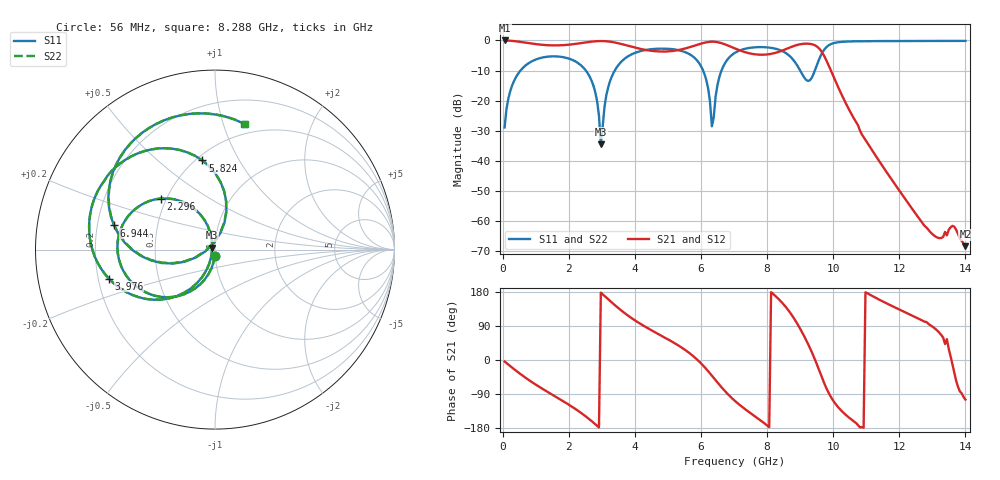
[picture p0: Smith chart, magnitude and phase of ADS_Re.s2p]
! Created Tue Apr 24 14:54:15 2018
# mhz S ri R 50
! 2 Port Network Data from data block
! freq  reS11  imS11  reS21  imS21  reS12  imS12  reS22  imS22
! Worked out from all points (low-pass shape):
!   250 points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, 56 MHz to 14 GHz, reference 50 ohm
!   highest |S21| = -0.02 dB at 56 MHz (marker M1); lowest = -68.2 dB at 14 GHz (marker M2)
!   |S21| within 3 dB of the highest: start of sweep to 4.25 GHz; 5.395 GHz to 7.104 GHz (1.709 GHz wide, 27.3 % of centre)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
!   lowest |S11| = -34.4 dB at 2.968 GHz (marker M3), VSWR 1.04, Z = 48.5 + j1.07 ohm
!   |S11| at or under -10 dB: start of sweep to 537.8 MHz; 2.514 GHz to 3.39 GHz (875.7 MHz wide, 29.7 % of centre); 6.062 GHz to 6.619 GHz (557.1 MHz wide, 8.79 % of centre)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
!   |S22| runs from -34.6 to -0.2 dB; largest |S21 - S12| = 0
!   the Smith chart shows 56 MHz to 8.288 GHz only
!   S11 on the Smith chart (normalised r, x): 56 MHz: 1.00, -0.07; 2.296 GHz: 0.47, +0.32; 3.976 GHz: 0.24, -0.13; 5.824 GHz: 0.54, +0.71; 6.944 GHz: 0.27, +0.11; 8.288 GHz: 0.40, +1.17
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56  -0.000957 -0.036  0.9953 -0.0697  0.9953 -0.0697  -0.000957 -0.036
672  -0.2668 -0.2656  0.6428 -0.6601  0.6428 -0.6601  -0.2668 -0.2656
2296  -0.3008 0.2843  -0.6284 -0.6285  -0.6284 -0.6285  -0.3013 0.2853
2408  -0.2372 0.2816  -0.7162 -0.5593  -0.7162 -0.5593  -0.2366 0.2822
2800  -0.0406 0.1322  -0.9502 -0.1778  -0.9502 -0.1778  -0.0402 0.1323
2968  -0.0154 0.011  -0.9745 0.0391  -0.9745 0.0391  -0.015 0.011
3248  -0.1007 -0.1869  -0.868 0.3913  -0.868 0.3913  -0.1005 -0.187
3976  -0.5917 -0.1614  -0.2104 0.7353  -0.2104 0.7353  -0.5919 -0.1612
4704  -0.679 0.2642  0.2395 0.6117  0.2395 0.6117  -0.6789 0.2646
5824  -0.0701 0.4967  0.8211 0.0815  0.8211 0.0815  -0.0707 0.4968
6160  0.0635 0.2102  0.8503 -0.3775  0.8503 -0.3775  0.0624 0.211
6328  -0.00588 0.0371  0.7161 -0.6274  0.7161 -0.6274  -0.00711 0.0386
6944  -0.5631 0.1345  -0.1522 -0.7527  -0.1522 -0.7527  -0.5622 0.1374
7056  -0.5908 0.2365  -0.2504 -0.6792  -0.2504 -0.6792  -0.5895 0.2392
8288  0.1611 0.7016  -0.6106 0.1533  -0.6106 0.1533  0.1647 0.7006
8960  0.3464 0.0139  0.0198 0.8542  0.0198 0.8542  0.346 0.00954
9352  0.0648 -0.2321  0.8075 0.3087  0.8075 0.3087  0.0603 -0.2333
9632  -0.4263 -0.3827  0.512 -0.4346  0.512 -0.4346  -0.4297 -0.3791
9968  -0.8369 0.2872  -0.0637 -0.2764  -0.0637 -0.2764  -0.8356 0.291
10640  -0.2244 0.9388  -0.0471 -0.0146  -0.0471 -0.0146  -0.2215 0.9395
11704  0.5956 0.7721  -0.00458 0.00313  -0.00458 0.00313  0.598 0.7702
14000  0.8013 -0.5659  -9.62e-05 -0.000375  -9.62e-05 -0.000375  0.7996 -0.5674
